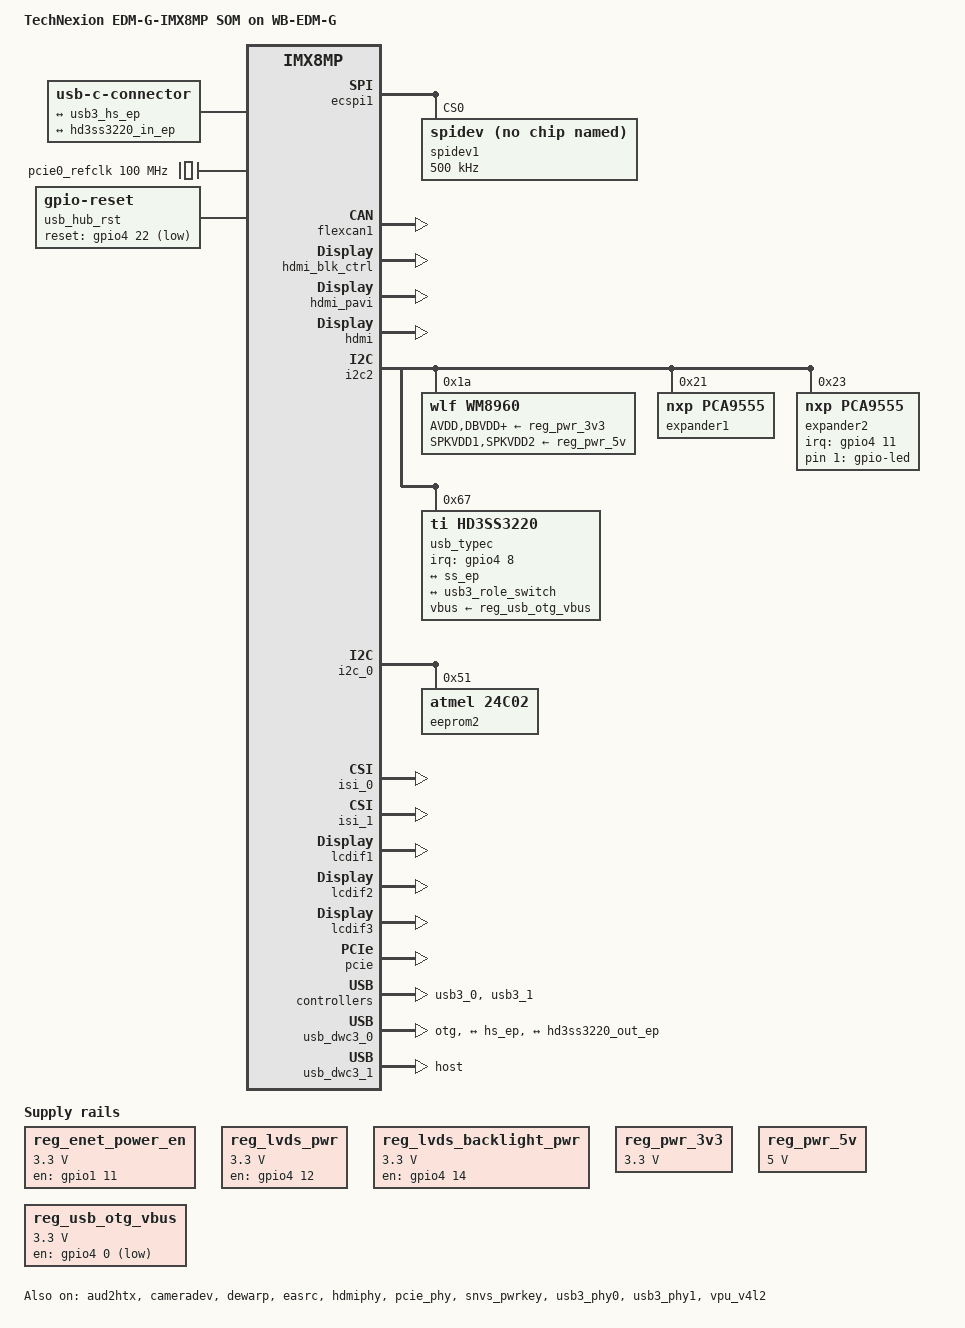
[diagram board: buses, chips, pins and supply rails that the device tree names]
// SPDX-License-Identifier: (GPL-2.0 OR MIT)
/*
 * Copyright 2024 TechNexion Ltd.
 *
 * Author: Ray Chang <ray.chang@technexion.com>
 */

/dts-v1/;

#include <dt-bindings/phy/phy-imx8-pcie.h>
#include <dt-bindings/usb/pd.h>
#include "imx8mp-edm-g.dtsi"
#include "imx8mp-nxp-display.dtsi"
#include "imx8mp-nxp-capture.dtsi"

/ {
	compatible = "technexion,edm-g-imx8mp-wb", "technexion,edm-g-imx8mp", "fsl,imx8mp";
	model = "TechNexion EDM-G-IMX8MP SOM on WB-EDM-G";

	connector {
		compatible = "usb-c-connector";
		data-role = "dual";
		label = "USB-C";

		ports {
			#address-cells = <1>;
			#size-cells = <0>;

			port@0 {
				reg = <0>;

				hs_ep: endpoint {
					remote-endpoint = <&usb3_hs_ep>;
				};
			};

			port@1 {
				reg = <1>;

				ss_ep: endpoint {
					remote-endpoint = <&hd3ss3220_in_ep>;
				};
			};
		};
	};

	leds {
		compatible = "gpio-leds";

		led {
			default-state = "on";
			gpios = <&expander2 1 GPIO_ACTIVE_HIGH>;
			label = "gpio-led";
		};
	};

	lvds_backlight: lvds-backlight {
		compatible = "pwm-backlight";
		brightness-levels = <0 36 72 108 144 180 216 255>;
		default-brightness-level = <6>;
		pwms = <&pwm2 0 50000 0>;
		status = "disabled";
	};

	pcie0_refclk: clock-pcie-ref {
		compatible = "fixed-clock";
		#clock-cells = <0>;
		clock-frequency = <100000000>;
	};

	reg_enet_power_en: regulator-enet-power-en {
		compatible = "regulator-fixed";
		pinctrl-0 = <&pinctrl_enet_pwr>;
		pinctrl-names = "default";
		regulator-max-microvolt = <3300000>;
		regulator-min-microvolt = <3300000>;
		regulator-name = "enet_pwr";
		gpio = <&gpio1 11 GPIO_ACTIVE_HIGH>;
		enable-active-high;
		regulator-always-on;
	};

	reg_lvds_pwr: regulator-lvdspwr {
		compatible = "regulator-fixed";
		pinctrl-0 = <&pinctrl_lvds0_pwr>;
		pinctrl-names = "default";
		regulator-max-microvolt = <3300000>;
		regulator-min-microvolt = <3300000>;
		regulator-name = "lvds0_vdden";
		gpio = <&gpio4 12 GPIO_ACTIVE_HIGH>;
		enable-active-high;
	};

	reg_lvds_backlight_pwr: regulator-lvdsblpwr {
		compatible = "regulator-fixed";
		pinctrl-0 = <&pinctrl_lvds0_backlight_pwr>;
		pinctrl-names = "default";
		regulator-max-microvolt = <3300000>;
		regulator-min-microvolt = <3300000>;
		regulator-name = "lvds0_bl_en";
		gpio = <&gpio4 14 GPIO_ACTIVE_HIGH>;
		enable-active-high;
		regulator-always-on;
	};

	reg_pwr_3v3: regulator-pwr-3v3 {
		compatible = "regulator-fixed";
		regulator-always-on;
		regulator-boot-on;
		regulator-max-microvolt = <3300000>;
		regulator-min-microvolt = <3300000>;
		regulator-name = "pwr-3v3";
	};

	reg_pwr_5v: regulator-pwr-5v {
		compatible = "regulator-fixed";
		regulator-always-on;
		regulator-boot-on;
		regulator-max-microvolt = <5000000>;
		regulator-min-microvolt = <5000000>;
		regulator-name = "pwr-5v";
	};

	reg_usb_otg_vbus: regulator-usb-otg-vbus {
		compatible = "regulator-fixed";
		pinctrl-0 = <&pinctrl_otg_vbus>;
		pinctrl-names = "default";
		regulator-max-microvolt = <3300000>;
		regulator-min-microvolt = <3300000>;
		regulator-name = "usb_otg_vbus";
		gpio = <&gpio4 0 GPIO_ACTIVE_LOW>;
		enable-active-low;
	};

	sound-hdmi {
		compatible = "fsl,imx-audio-hdmi";
		audio-cpu = <&aud2htx>;
		hdmi-out;
		model = "audio-hdmi";
	};

	sound-wm8960 {
		compatible = "fsl,imx-audio-wm8960";
		audio-asrc = <&easrc>;
		audio-codec = <&wm8960>;
		audio-cpu = <&sai3>;
		audio-routing = "Headphone Jack", "HP_L",
			"Headphone Jack", "HP_R",
			"Ext Spk", "SPK_LP",
			"Ext Spk", "SPK_LN",
			"Ext Spk", "SPK_RP",
			"Ext Spk", "SPK_RN",
			"LINPUT1", "Mic Jack",
			"LINPUT1", "Mic Jack",
			"Mic Jack", "MICB";
		/* JD2: hp detect high for headphone*/
		hp-det = <2 0>;
		model = "wm8960-audio";
	};

	usb_hub_rst: usb-hub-rst {
		compatible = "gpio-reset";
		pinctrl-names = "default";
		pinctrl-0 = <&pinctrl_usb_hub_ctrl>;
		reset-gpios = <&gpio4 22 GPIO_ACTIVE_LOW>;
		reset-delay-us = <10>;
		#reset-cells = <0>;
	};
};

&aud2htx {
	status = "okay";
};

&cameradev {
	status = "okay";
};

&dewarp {
	status = "okay";
};

&easrc {
	fsl,asrc-rate  = <48000>;
	status = "okay";
};

&ecspi1 {
	status = "okay";

	spidev1: spi@0 {
		reg = <0>;
		compatible = "rohm,dh2228fv";
		spi-max-frequency = <500000>;
	};
};

&flexcan1 {
	status = "okay";
};

&gpio1 {
	gpio-line-names =
		"", "", "", "", "", "", "DSI_RST", "",
		"", "", "", "", "", "PCIE_CLKREQ_N", "", "",
		"", "", "", "", "", "", "", "",
		"", "", "", "", "", "", "", "";
	pinctrl-0 = <&pinctrl_gpio1>;
};

&gpio4 {
	gpio-line-names =
		"", "", "", "", "", "", "GPIO_P249", "GPIO_P251",
		"", "GPIO_P255", "", "", "", "", "", "",
		"DSI_BL_EN", "DSI_VDDEN", "", "", "", "", "", "",
		"", "", "", "", "", "", "", "";
	pinctrl-0 = <&pinctrl_gpio4>;
};

&hdmi_blk_ctrl {
	status = "okay";
};

&hdmi_pavi {
	status = "okay";
};

&hdmi {
	status = "okay";
};

&hdmiphy {
	status = "okay";
};

&i2c2 {
	status = "okay";

	wm8960: audio-codec@1a {
		compatible = "wlf,wm8960";
		reg = <0x1a>;
		clocks = <&audio_blk_ctrl IMX8MP_CLK_AUDIOMIX_SAI3_MCLK1>;
		clock-names = "mclk";
		#sound-dai-cells = <0>;
		AVDD-supply = <&reg_pwr_3v3>;
		DBVDD-supply = <&reg_pwr_3v3>;
		DCVDD-supply = <&reg_pwr_3v3>;
		SPKVDD1-supply = <&reg_pwr_5v>;
		SPKVDD2-supply = <&reg_pwr_5v>;
		wlf,gpio-cfg = <1 2>;
		wlf,hp-cfg = <2 2 3>;
		wlf,shared-lrclk;
	};

	expander1: gpio@21 {
		compatible = "nxp,pca9555";
		reg = <0x21>;
		// #interrupt-cells = <2>;
		// interrupt-controller;
		// interrupt-parent = <&gpio1>;
		// interrupts = <10 IRQ_TYPE_LEVEL_LOW>;
		#gpio-cells = <2>;
		gpio-controller;
		gpio-line-names = "EXPOSURE_TRIG_IN1", "FLASH_OUT1",
				  "INFO_TRIG_IN1", "CAM_SHUTTER1", "XVS1",
				  "PWR1_TIME0", "PWR1_TIME1", "PWR1_TIME2",
				  "EXPOSURE_TRIG_IN2", "FLASH_OUT2",
				  "INFO_TRIG_IN2", "CAM_SHUTTER2", "XVS2",
				  "PWR2_TIME0", "PWR2_TIME1", "PWR2_TIME2";
		// pinctrl-0 = <&pinctrl_expander1_irq>;
		pinctrl-names = "default";
	};

	expander2: gpio@23 {
		compatible = "nxp,pca9555";
		reg = <0x23>;
		#interrupt-cells = <2>;
		interrupt-controller;
		interrupt-parent = <&gpio4>;
		interrupts = <11 IRQ_TYPE_LEVEL_LOW>;
		#gpio-cells = <2>;
		gpio-controller;
		gpio-line-names = "M2_DISABLE_N", "LED_EN", "", "",
				  "", "", "", "USB_OTG_OC",
				  "EXT_GPIO8", "EXT_GPIO9", "", "",
				  "", "CSI1_PDB", "CSI2_PDB", "PD_FAULT";
		pinctrl-0 = <&pinctrl_expander2_irq>;
		pinctrl-names = "default";
	};

	usb_typec: usb-typec@67 {
		compatible = "ti,hd3ss3220";
		reg = <0x67>;
		interrupts-extended = <&gpio4 8 IRQ_TYPE_LEVEL_LOW>;
		pinctrl-0 = <&pinctrl_hd3ss3220_irq>;
		pinctrl-names = "default";
		vbus-supply = <&reg_usb_otg_vbus>;

		ports {
			#address-cells = <1>;
			#size-cells = <0>;

			port@0 {
				reg = <0>;

				hd3ss3220_in_ep: endpoint {
					remote-endpoint = <&ss_ep>;
				};
			};

			port@1 {
				reg = <1>;

				hd3ss3220_out_ep: endpoint {
					remote-endpoint = <&usb3_role_switch>;
				};
			};
		};
	};
};

&i2c_0 {
	eeprom2: eeprom@51 {
		compatible = "atmel,24c02";
		reg = <0x51>;
		pagesize = <16>;
	};
};

&isi_0 {
	status = "okay";

	cap_device {
		status = "okay";
	};
};

&isi_1 {
	status = "okay";

	cap_device {
		status = "okay";
	};
};

&lcdif1 {
	status = "okay";
};

&lcdif2 {
	status = "okay";
};

&lcdif3 {
	status = "okay";

	thres-low  = <1 2>;             /* (FIFO * 1 / 2) */
	thres-high = <3 4>;             /* (FIFO * 3 / 4) */
};

&pcie {
	ext_osc = <1>;
	status = "okay";
};

&pcie_phy {
	clocks = <&pcie0_refclk>;
	clock-names = "ref";
	fsl,clkreq-unsupported;
	fsl,refclk-pad-mode = <IMX8_PCIE_REFCLK_PAD_INPUT>;
	status = "okay";
};

&snvs_pwrkey {
	status = "okay";
};

&usb3_0 {
	status = "okay";
};

&usb3_1 {
	status = "okay";
};

&usb3_phy0 {
	status = "okay";
};

&usb3_phy1 {
	status = "okay";
};

&usb_dwc3_0 {
	dr_mode = "otg";
	pinctrl-names = "default";
	usb-role-switch;
	status = "okay";

	ports {
		#address-cells = <1>;
		#size-cells = <0>;

		port@0 {
			reg = <0>;

			usb3_hs_ep: endpoint {
				remote-endpoint = <&hs_ep>;
			};
		};

		port@1 {
			reg = <1>;

			usb3_role_switch: endpoint {
				remote-endpoint = <&hd3ss3220_out_ep>;
			};
		};
	};
};

&usb_dwc3_1 {
	dr_mode = "host";
	resets = <&usb_hub_rst>;
};

&vpu_v4l2 {
	status = "okay";
};

&iomuxc {
	pinctrl_csi0_pwn: csi0_pwn_grp {
		fsl,pins = <
			MX8MP_IOMUXC_GPIO1_IO07__GPIO1_IO07		0x9
		>;
	};

	pinctrl_csi0_rst: csi0_rst_grp {
		fsl,pins = <
			MX8MP_IOMUXC_GPIO1_IO08__GPIO1_IO08		0x9
			MX8MP_IOMUXC_GPIO1_IO14__CCM_CLKO1		0x59
		>;
	};

	pinctrl_csi1_pwn: csi1_pwn_grp {
		fsl,pins = <
			MX8MP_IOMUXC_SAI1_RXD3__GPIO4_IO05		0x9
		>;
	};

	pinctrl_csi1_rst: csi1_rst_grp {
		fsl,pins = <
			MX8MP_IOMUXC_SAI1_RXD2__GPIO4_IO04		0x9
			MX8MP_IOMUXC_GPIO1_IO15__CCM_CLKO2		0x59
		>;
	};

	pinctrl_enet_pwr: enetpwrgrp {
		fsl,pins = <
			MX8MP_IOMUXC_GPIO1_IO11__GPIO1_IO11		0x11
		>;
	};

	pinctrl_expander1_irq: expander1-irqgrp {
		fsl,pins = <
			MX8MP_IOMUXC_GPIO1_IO10__GPIO1_IO10		0x140 /* SPI_B_SS0 */
		>;
	};

	pinctrl_expander2_irq: expander2-irqgrp {
		fsl,pins = <
			MX8MP_IOMUXC_SAI1_TXC__GPIO4_IO11		0x140 /* GPIO_P247 */
		>;
	};

	pinctrl_gpio1: gpio1grp {
		fsl,pins = <
			MX8MP_IOMUXC_GPIO1_IO06__GPIO1_IO06		0x16 /* DSI_RST */
		>;
	};

	pinctrl_gpio4: gpio4grp {
		fsl,pins = <
			MX8MP_IOMUXC_SAI1_RXD4__GPIO4_IO06		0x16 /* GPIO_P249 */
			MX8MP_IOMUXC_SAI1_RXD5__GPIO4_IO07		0x16 /* GPIO_P251 */
			MX8MP_IOMUXC_SAI1_RXD7__GPIO4_IO09		0x16 /* GPIO_P255 */
			MX8MP_IOMUXC_SAI1_TXD4__GPIO4_IO16		0x16 /* DSI_BL_EN */
			MX8MP_IOMUXC_SAI1_TXD5__GPIO4_IO17		0x16 /* DSI_VDDEN */
		>;
	};

	pinctrl_hd3ss3220_irq: hd3ss3220-irqgrp {
		fsl,pins = <
			MX8MP_IOMUXC_SAI1_RXD6__GPIO4_IO08		0x41 /* GPIO_P253 */
		>;
	};

	pinctrl_hdmi: hdmigrp {
		fsl,pins = <
			MX8MP_IOMUXC_HDMI_DDC_SCL__HDMIMIX_HDMI_SCL	0x1c2
			MX8MP_IOMUXC_HDMI_DDC_SDA__HDMIMIX_HDMI_SDA	0x1c2
			MX8MP_IOMUXC_HDMI_CEC__HDMIMIX_HDMI_CEC		0x10
		>;
	};

	pinctrl_lvds0_backlight_pwr: lvds0_bl_pwrgrp {
		fsl,pins = <
			MX8MP_IOMUXC_SAI1_TXD2__GPIO4_IO14		0x19 /* LVDS0_BL_EN */
		>;
	};

	pinctrl_lvds0_pwr: lvds0_pwrgrp {
		fsl,pins = <
			MX8MP_IOMUXC_SAI1_TXD0__GPIO4_IO12		0x19 /* LVDS0_VDDEN */
		>;
	};

	pinctrl_otg_vbus: otgvbusgrp {
		fsl,pins = <
			MX8MP_IOMUXC_SAI1_RXFS__GPIO4_IO00		0x19 /* USB_OTG_PWR_EN */
		>;
	};

	pinctrl_usb_hub_ctrl: usbhubctrlgrp {
		fsl,pins = <
			MX8MP_IOMUXC_SAI2_RXC__GPIO4_IO22		0x41 /* USB_HUB_RESET */
		>;
	};

	pinctrl_touch_irq: touch_irqgrp {
		fsl,pins = <
			MX8MP_IOMUXC_SAI1_TXD3__GPIO4_IO15	0x41   /* Touch INT */
		>;
	};

	pinctrl_touch_reset: touch_rstgrp {
		fsl,pins = <
			MX8MP_IOMUXC_SAI1_TXD1__GPIO4_IO13		0x41 /* TOUCH_nRST, LVDS1_VDDEN */
		>;
	};
};
